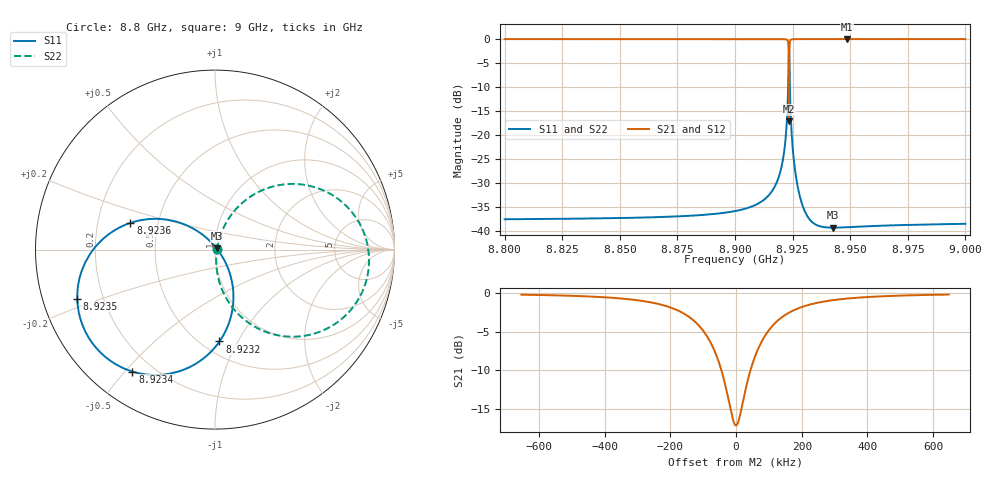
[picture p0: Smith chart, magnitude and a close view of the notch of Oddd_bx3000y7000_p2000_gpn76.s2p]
! Sonnet Data File
! From: emgraph Version : 16.52
! From Project: Resonator2_cp
! Data is De-embedded
! Data File Written: 10/06/2017 13:30:08
!< HDATE 10/06/2017 09:06:26
!< MDATE 10/06/2017 09:06:26
!< PARAMS
!< gap = 76.0
!< Length = 400.0
!< Pwid1 = 2000.0
!< Pwid2 = 2000.0
!< END PARAMS
# GHZ S MA R 35.97000
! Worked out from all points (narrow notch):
!   1595 points, 8.8 GHz to 9 GHz, reference 35.97 ohm
!   highest |S21| = 0.00 dB at 8.9486 GHz (marker M1); lowest = -17.1 dB at 8.9234 GHz (marker M2)
!   notch at M2: 17.1 dB deep, 110 kHz wide at half that depth
!   lowest |S11| = -39.2 dB at 8.9426 GHz (marker M3), VSWR 1.02, Z = 36.6 + j0.497 ohm
!   |S11| at or under -10 dB: start of sweep to 8.9231 GHz; 8.9238 GHz to end of sweep
!   |S22| runs from -39.2 to -1.3 dB; largest |S21 - S12| = 0
!   S11 on the Smith chart (normalised r, x): 8.8 GHz: 1.03, +0.00; 8.9232 GHz: 0.61, -0.84; 8.9234 GHz: 0.13, -0.52; 8.9235 GHz: 0.11, -0.17; 8.9236 GHz: 0.35, +0.14; 9 GHz: 1.02, +0.01
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8.8  0.01335 4.3  0.9999 -74.2  0.9999 -74.2  0.01335 27.2
!< P1 F=8.8 Eeff=(5.36817953 -2.3731e-5) Z0=(35.9853883 8.0522e-5) R=0.0 C=0.0
!< P2 F=8.8 Eeff=(5.36817953 -2.3731e-5) Z0=(35.9853883 8.0522e-5) R=0.0 C=0.0
8.8334  0.01356 2.6  0.9999 -74.5  0.9999 -74.5  0.01357 28.3
8.8668  0.01406 -0.5  0.9999 -74.9  0.9999 -74.9  0.01407 30.8
8.9  0.01624 -9.8  0.9999 -75.3  0.9999 -75.3  0.01625 39.2
8.9184  0.0336 -34.7  0.9993 -76.6  0.9993 -76.6  0.03367 61.1
8.921798  0.08422 -49.7  0.9955 -79.6  0.9955 -79.6  0.08447 69.2
8.922788  0.1961 -61.6  0.9746 -86.1  0.9746 -86.1  0.1967 65.9
8.92324  0.5125 -87.2  0.8081 -105.6  0.8081 -105.6  0.5143 44.5
8.923334  0.6983 -105.4  0.5952 -118.2  0.5952 -118.2  0.7007 27.3
8.923395  0.8207 -124.1  0.3267 -123.6  0.3267 -123.6  0.8235 9.2
8.923441  0.8593 -141.9  0.1392 -73.9  0.1392 -73.9  0.8624 -8.1
8.92349  0.8147 -160.4  0.3428 -26.0  0.3428 -26.0  0.8176 -26.2
8.923649  0.4941 162.5  0.821 -45.3  0.821 -45.3  0.4959 -61.7
8.92391  0.2528 143.2  0.9561 -60.2  0.9561 -60.2  0.2538 -78.4
8.924421  0.1222 131.5  0.9898 -67.8  0.9898 -67.8  0.1227 -84.7
8.92623  0.04041 115.3  0.9988 -72.6  0.9988 -72.6  0.04059 -79.7
8.929205  0.01892 94.1  0.9997 -74.0  0.9997 -74.0  0.019 -61.7
8.9334  0.01254 68.2  0.9999 -74.6  0.9999 -74.6  0.01258 -37.2
8.9426  0.01092 38.4  0.9999 -75.0  0.9999 -75.0  0.01093 -8.4
8.9486  0.01103 30.0  0.9999 -75.2  0.9999 -75.2  0.01103 -0.3
8.9668  0.01151 19.2  0.9999 -75.4  0.9999 -75.4  0.01152 10.0
9  0.01197 13.0  0.9999 -75.8  0.9999 -75.8  0.01197 15.5
